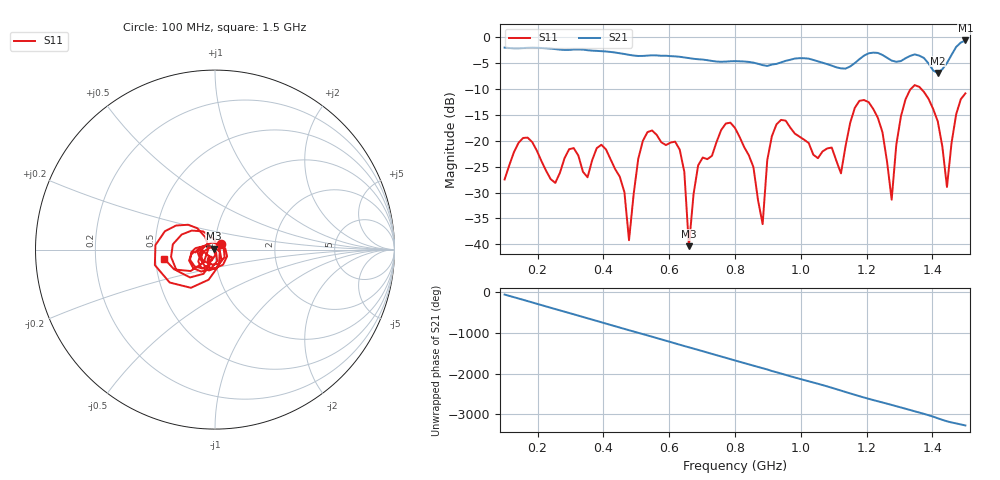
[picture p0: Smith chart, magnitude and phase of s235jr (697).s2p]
! NanoVNA-App
! Date: 2025-09-25 15:09:36
! Start: 100MHz Stop: 1,5GHz Points: 101
! S-Parameter data: F S11 S21 S12 S22
# Hz S RI R 50
!  Frequency  S11_Real  S11_Imag  S21_Real  S21_Imag  S12_Real  S12_Imag  S22_Real  S22_Imag
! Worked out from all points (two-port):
!   101 points, 100 MHz to 1.5 GHz, reference 50 ohm
!   highest |S21| = -0.58 dB at 1.5 GHz (marker M1); lowest = -6.9 dB at 1.416 GHz (marker M2)
!   |S21| within 3 dB of the highest: start of sweep to 505.8 MHz; 508.1 MHz to 598.2 MHz (90.15 MHz wide, 16.3 % of centre) (the widest 2 of 5)
!   lowest |S11| = -40.4 dB at 660 MHz (marker M3), VSWR 1.02, Z = 49.2 + j0.548 ohm
!   |S11| at or under -10 dB: start of sweep to 1.334 GHz; 1.366 GHz to end of sweep
!   S12 and S22 are empty: the file has one direction only
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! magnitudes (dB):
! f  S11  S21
! 100 MHz  -27.5  -2.0
! 156 MHz  -19.4  -2.1
! 338 MHz  -26.0  -2.4
! 408 MHz  -21.7  -2.7
! 478 MHz  -39.2  -3.4
! 520 MHz  -20.0  -3.6
! 576 MHz  -20.3  -3.5
! 632 MHz  -21.7  -3.7
! 660 MHz  -40.4  -4.0
! 688 MHz  -24.7  -4.2
! 800 MHz  -17.5  -4.6
! 884 MHz  -36.1  -5.4
! 898 MHz  -23.7  -5.5
! 926 MHz  -16.8  -5.1
! 1.038 GHz  -22.7  -4.4
! 1.122 GHz  -26.3  -6.0
! 1.206 GHz  -12.5  -3.1
! 1.276 GHz  -31.4  -4.5
! 1.332 GHz  -10.1  -3.6
! 1.416 GHz  -16.2  -6.9
! 1.444 GHz  -28.9  -5.0
! 1.5 GHz  -10.8  -0.6
